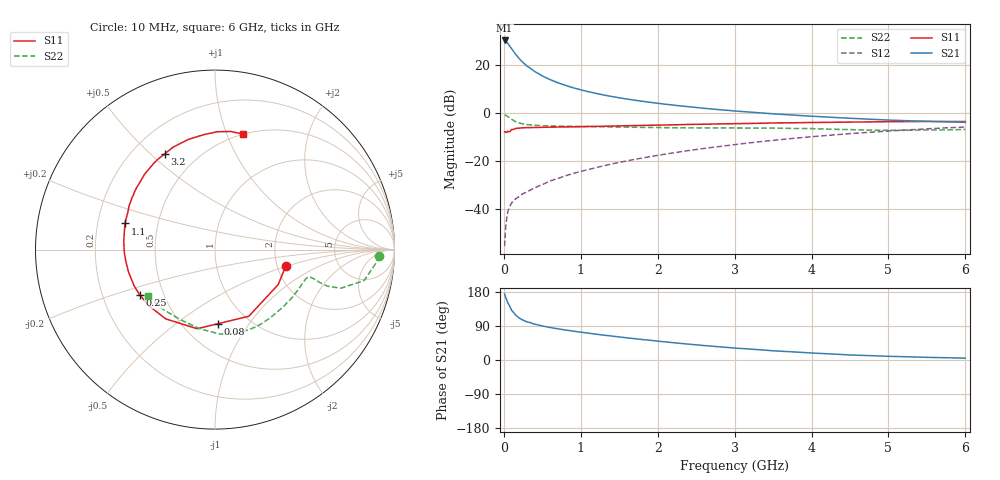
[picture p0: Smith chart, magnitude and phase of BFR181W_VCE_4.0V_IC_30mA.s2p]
! Infineon Technologies  Discrete & RF Semiconductors
! BFR181W
! VCE =  4.0 V,  IC =  30 mA
! Common Emitter S-Parameters:  Jan 2017
# GHz  S  MA  R  50
!  f  S11  S21  S12  S22
! GHz  MAG  ANG  MAG  ANG  MAG  ANG  MAG  ANG
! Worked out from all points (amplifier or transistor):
!   77 points, 10 MHz to 6 GHz, reference 50 ohm
!   highest |S21| = 30.1 dB at 10 MHz (marker M1)
!   |S21| within 3 dB of that: start of sweep to 90.22 MHz
!   unconditionally stable (mu >= 1): start of sweep to 13.34 MHz; 282.9 MHz to 2.656 GHz
!   at 130 MHz: K = 0.64, MSG = 30.9 dB, |S12| = -36.4 dB
!   at 2.2 GHz: K = 1.08, MAG = 8.2 dB, |S12| = -16.6 dB
!   at 6 GHz: K = 0.97, MSG = 1.0 dB, |S12| = -5.8 dB
!   S11 on the Smith chart (normalised r, x): 10 MHz: 2.23, -0.49; 80 MHz: 0.73, -0.73; 250 MHz: 0.37, -0.24; 1.1 GHz: 0.32, +0.13; 3.2 GHz: 0.33, +0.56; 6 GHz: 0.50, +1.14
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0.01  0.4049 -13.2  31.96 174.3  0.0017 87.4  0.9137 -2.2
0.02  0.4025 -28.9  31.43 167.5  0.0034 78.0  0.9001 -4.8
0.05  0.4163 -63.1  28.1 151.1  0.0087 69.6  0.8478 -11.8
0.08  0.4134 -87.8  23.84 140.4  0.0116 64.5  0.7795 -14.7
0.1  0.452 -102.7  21.61 131.1  0.0135 62.3  0.7352 -17.0
0.15  0.4736 -125.4  16.76 119.1  0.0162 57.9  0.6596 -18.0
0.2  0.4826 -139.2  13.38 110.8  0.0183 59.8  0.6152 -17.5
0.25  0.4898 -149.1  11.1 105.1  0.0211 59.9  0.5896 -16.9
0.3  0.4937 -155.9  9.424 100.8  0.0227 62.0  0.5715 -16.4
0.4  0.4978 -165.6  7.25 94.5  0.0277 65.6  0.5527 -16.1
0.5  0.5009 -172.5  5.853 89.8  0.0323 69.5  0.5425 -16.4
0.6  0.5053 -178.0  4.92 85.8  0.0384 70.8  0.5363 -17.0
0.7  0.508 177.6  4.24 82.4  0.0431 73.5  0.5313 -17.9
0.9  0.5133 170.0  3.327 76.2  0.0549 76.2  0.5244 -20.5
1.1  0.522 163.8  2.755 70.8  0.0666 78.5  0.5188 -23.3
1.5  0.5368 153.2  2.055 60.9  0.0933 80.3  0.5072 -30.1
2.1  0.5601 139.2  1.515 47.8  0.139 79.1  0.4931 -42.5
3.1  0.5994 119.5  1.067 30.2  0.2287 72.8  0.4842 -65.6
3.2  0.6029 117.6  1.038 28.9  0.2386 71.9  0.483 -67.8
4.1  0.6333 101.8  0.836 17.5  0.3292 62.7  0.4652 -89.2
5.1  0.6575 87.6  0.7 9.2  0.4287 50.5  0.4343 -119.1
6  0.6619 76.5  0.636 4.9  0.5101 39.0  0.4528 -145.1
